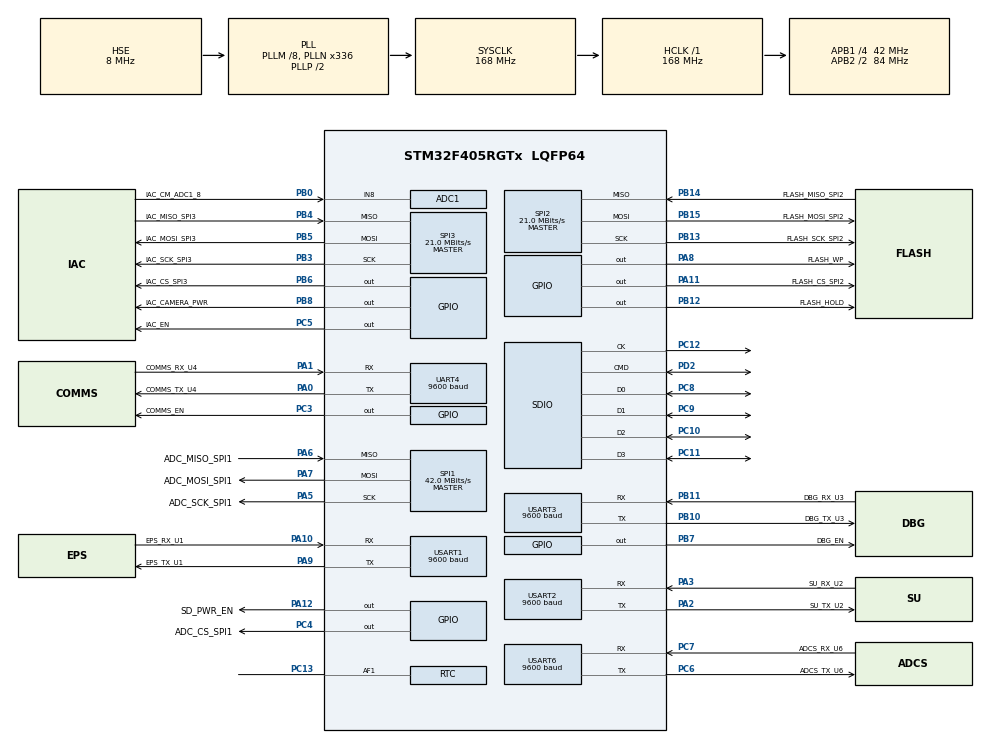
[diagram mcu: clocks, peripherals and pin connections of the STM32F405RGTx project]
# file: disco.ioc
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ADC1.Channel-17\#ChannelRegularConversion=ADC_CHANNEL_8
ADC1.NbrOfConversionFlag=1
ADC1.Rank-17\#ChannelRegularConversion=1
ADC1.SamplingTime-17\#ChannelRegularConversion=ADC_SAMPLETIME_3CYCLES
ADC1.master=1
Dma.Request0=USART2_TX
Dma.Request1=USART3_TX
Dma.Request2=USART6_TX
Dma.Request3=USART1_TX
Dma.Request4=UART4_TX
Dma.UART4_TX.4.Channel=DMA_CHANNEL_4
Dma.UART4_TX.4.Direction=DMA_MEMORY_TO_PERIPH
Dma.UART4_TX.4.FIFOMode=DMA_FIFOMODE_DISABLE
Dma.UART4_TX.4.Instance=DMA1_Stream4
Dma.UART4_TX.4.MemDataAlignment=DMA_MDATAALIGN_BYTE
Dma.UART4_TX.4.MemInc=DMA_MINC_ENABLE
Dma.UART4_TX.4.Mode=DMA_NORMAL
Dma.UART4_TX.4.PeriphDataAlignment=DMA_PDATAALIGN_BYTE
Dma.UART4_TX.4.PeriphInc=DMA_PINC_DISABLE
Dma.UART4_TX.4.Priority=DMA_PRIORITY_LOW
Dma.USART1_TX.3.Channel=DMA_CHANNEL_4
Dma.USART1_TX.3.Direction=DMA_MEMORY_TO_PERIPH
Dma.USART1_TX.3.FIFOMode=DMA_FIFOMODE_DISABLE
Dma.USART1_TX.3.Instance=DMA2_Stream7
Dma.USART1_TX.3.MemDataAlignment=DMA_MDATAALIGN_BYTE
Dma.USART1_TX.3.MemInc=DMA_MINC_ENABLE
Dma.USART1_TX.3.Mode=DMA_NORMAL
Dma.USART1_TX.3.PeriphDataAlignment=DMA_PDATAALIGN_BYTE
Dma.USART1_TX.3.PeriphInc=DMA_PINC_DISABLE
Dma.USART1_TX.3.Priority=DMA_PRIORITY_LOW
Dma.USART2_TX.0.Channel=DMA_CHANNEL_4
Dma.USART2_TX.0.Direction=DMA_MEMORY_TO_PERIPH
Dma.USART2_TX.0.FIFOMode=DMA_FIFOMODE_DISABLE
Dma.USART2_TX.0.Instance=DMA1_Stream6
Dma.USART2_TX.0.MemDataAlignment=DMA_MDATAALIGN_BYTE
Dma.USART2_TX.0.MemInc=DMA_MINC_ENABLE
Dma.USART2_TX.0.Mode=DMA_NORMAL
Dma.USART2_TX.0.PeriphDataAlignment=DMA_PDATAALIGN_BYTE
Dma.USART2_TX.0.PeriphInc=DMA_PINC_DISABLE
Dma.USART2_TX.0.Priority=DMA_PRIORITY_LOW
Dma.USART3_TX.1.Channel=DMA_CHANNEL_4
Dma.USART3_TX.1.Direction=DMA_MEMORY_TO_PERIPH
Dma.USART3_TX.1.FIFOMode=DMA_FIFOMODE_DISABLE
Dma.USART3_TX.1.Instance=DMA1_Stream3
Dma.USART3_TX.1.MemDataAlignment=DMA_MDATAALIGN_BYTE
Dma.USART3_TX.1.MemInc=DMA_MINC_ENABLE
Dma.USART3_TX.1.Mode=DMA_NORMAL
Dma.USART3_TX.1.PeriphDataAlignment=DMA_PDATAALIGN_BYTE
Dma.USART3_TX.1.PeriphInc=DMA_PINC_DISABLE
Dma.USART3_TX.1.Priority=DMA_PRIORITY_LOW
Dma.USART6_TX.2.Channel=DMA_CHANNEL_5
Dma.USART6_TX.2.Direction=DMA_MEMORY_TO_PERIPH
Dma.USART6_TX.2.FIFOMode=DMA_FIFOMODE_DISABLE
Dma.USART6_TX.2.Instance=DMA2_Stream6
Dma.USART6_TX.2.MemDataAlignment=DMA_MDATAALIGN_BYTE
Dma.USART6_TX.2.MemInc=DMA_MINC_ENABLE
Dma.USART6_TX.2.Mode=DMA_NORMAL
Dma.USART6_TX.2.PeriphDataAlignment=DMA_PDATAALIGN_BYTE
Dma.USART6_TX.2.PeriphInc=DMA_PINC_DISABLE
Dma.USART6_TX.2.Priority=DMA_PRIORITY_LOW
FATFS._FS_LOCK=1
FREERTOS.Tasks01=defaultTask,0,128,StartDefaultTask,Default;HK,-2,128,HK_task,Default
Mcu.Family=STM32F4
Mcu.Name=STM32F405RGTx
Mcu.Package=LQFP64
NVIC.DMA1_Stream3_IRQn=true\:5\:0\:false\:false\:true
NVIC.DMA1_Stream4_IRQn=true\:5\:0\:false\:false\:true
NVIC.DMA1_Stream6_IRQn=true\:5\:0\:false\:false\:true
NVIC.DMA2_Stream6_IRQn=true\:5\:0\:false\:false\:true
NVIC.DMA2_Stream7_IRQn=true\:5\:0\:false\:false\:true
NVIC.PriorityGroup=NVIC_PRIORITYGROUP_4
NVIC.SDIO_IRQn=true\:5\:0\:false\:false\:true
NVIC.TIM1_UP_TIM10_IRQn=true\:0\:0\:false\:false\:true
NVIC.TimeBase=TIM1_UP_TIM10_IRQn
NVIC.TimeBaseIP=TIM1
NVIC.UART4_IRQn=true\:5\:0\:false\:false\:true
NVIC.USART1_IRQn=true\:5\:0\:false\:false\:true
NVIC.USART2_IRQn=true\:5\:0\:false\:false\:true
NVIC.USART3_IRQn=true\:5\:0\:false\:false\:true
NVIC.USART6_IRQn=true\:5\:0\:false\:false\:true
PA0-WKUP.GPIO_Label=COMMS_TX_U4
PA0-WKUP.Mode=Asynchronous
PA0-WKUP.Signal=UART4_TX
PA1.GPIO_Label=COMMS_RX_U4
PA1.Mode=Asynchronous
PA1.Signal=UART4_RX
PA10.GPIO_Label=EPS_RX_U1
PA10.Mode=Asynchronous
PA10.Signal=USART1_RX
PA11.GPIO_Label=FLASH_CS_SPI2
PA11.Signal=GPIO_Output
PA12.GPIO_Label=SD_PWR_EN
PA12.Signal=GPIO_Output
PA13.Mode=Serial-Wire
PA13.Signal=SYS_JTMS-SWDIO
PA14.Mode=Serial-Wire
PA14.Signal=SYS_JTCK-SWCLK
PA2.GPIO_Label=SU_TX_U2
PA2.Mode=Asynchronous
PA2.Signal=USART2_TX
PA3.GPIO_Label=SU_RX_U2
PA3.Mode=Asynchronous
PA3.Signal=USART2_RX
PA5.GPIO_Label=ADC_SCK_SPI1
PA5.Mode=Full_Duplex_Master
PA5.Signal=SPI1_SCK
PA6.GPIO_Label=ADC_MISO_SPI1
PA6.Mode=Full_Duplex_Master
PA6.Signal=SPI1_MISO
PA7.GPIO_Label=ADC_MOSI_SPI1
PA7.Mode=Full_Duplex_Master
PA7.Signal=SPI1_MOSI
PA8.GPIO_Label=FLASH_WP
PA8.Signal=GPIO_Output
PA9.GPIO_Label=EPS_TX_U1
PA9.Mode=Asynchronous
PA9.Signal=USART1_TX
PB0.GPIO_Label=IAC_CM_ADC1_8
PB0.Signal=ADCx_IN8
PB10.GPIO_Label=DBG_TX_U3
PB10.Mode=Asynchronous
PB10.Signal=USART3_TX
PB11.GPIO_Label=DBG_RX_U3
PB11.Mode=Asynchronous
PB11.Signal=USART3_RX
PB12.GPIO_Label=FLASH_HOLD
PB12.Signal=GPIO_Output
PB13.GPIO_Label=FLASH_SCK_SPI2
PB13.Mode=Full_Duplex_Master
PB13.Signal=SPI2_SCK
PB14.GPIO_Label=FLASH_MISO_SPI2
PB14.Mode=Full_Duplex_Master
PB14.Signal=SPI2_MISO
PB15.GPIO_Label=FLASH_MOSI_SPI2
PB15.Mode=Full_Duplex_Master
PB15.Signal=SPI2_MOSI
PB3.GPIO_Label=IAC_SCK_SPI3
PB3.Mode=Full_Duplex_Master
PB3.Signal=SPI3_SCK
PB4.GPIO_Label=IAC_MISO_SPI3
PB4.Mode=Full_Duplex_Master
PB4.Signal=SPI3_MISO
PB5.GPIO_Label=IAC_MOSI_SPI3
PB5.Mode=Full_Duplex_Master
PB5.Signal=SPI3_MOSI
PB6.GPIO_Label=IAC_CS_SPI3
PB6.Signal=GPIO_Output
PB7.GPIO_Label=DBG_EN
PB7.Signal=GPIO_Output
PB8.GPIO_Label=IAC_CAMERA_PWR
PB8.Signal=GPIO_Output
PC10.Mode=SD_4_bits_Wide_bus
PC10.Signal=SDIO_D2
PC11.Mode=SD_4_bits_Wide_bus
PC11.Signal=SDIO_D3
PC12.Mode=SD_4_bits_Wide_bus
PC12.Signal=SDIO_CK
PC13-ANTI_TAMP.Mode=Calibration_1Hz
PC13-ANTI_TAMP.Signal=RTC_AF1
PC14-OSC32_IN.Signal=RCC_OSC32_IN
PC15-OSC32_OUT.Signal=RCC_OSC32_OUT
PC3.GPIO_Label=COMMS_EN
PC3.Signal=GPIO_Output
PC4.GPIO_Label=ADC_CS_SPI1
PC4.Signal=GPIO_Output
PC5.GPIO_Label=IAC_EN
PC5.Signal=GPIO_Output
PC6.GPIO_Label=ADCS_TX_U6
PC6.Mode=Asynchronous
PC6.Signal=USART6_TX
PC7.GPIO_Label=ADCS_RX_U6
PC7.Mode=Asynchronous
PC7.Signal=USART6_RX
PC8.Mode=SD_4_bits_Wide_bus
PC8.Signal=SDIO_D0
PC9.Mode=SD_4_bits_Wide_bus
PC9.Signal=SDIO_D1
PD2.Mode=SD_4_bits_Wide_bus
PD2.Signal=SDIO_CMD
PH0-OSC_IN.Mode=HSE-External-Oscillator
PH0-OSC_IN.Signal=RCC_OSC_IN
PH1-OSC_OUT.Mode=HSE-External-Oscillator
PH1-OSC_OUT.Signal=RCC_OSC_OUT
ProjectManager.HeapSize=0x200
ProjectManager.StackSize=0x400
ProjectManager.TargetToolchain=EWARM
RCC.48MHZClocksFreq_Value=48000000
RCC.AHBFreq_Value=168000000
RCC.APB1CLKDivider=RCC_HCLK_DIV4
RCC.APB1Freq_Value=42000000
RCC.APB1TimFreq_Value=84000000
RCC.APB2CLKDivider=RCC_HCLK_DIV2
RCC.APB2Freq_Value=84000000
RCC.APB2TimFreq_Value=168000000
RCC.CortexFreq_Value=168000000
RCC.HCLKFreq_Value=168000000
RCC.HSE_VALUE=8000000
RCC.HSI_VALUE=16000000
RCC.LSE_VALUE=1000000
RCC.PLLM=8
RCC.PLLN=336
RCC.PLLQ=7
RCC.PLLSourceVirtual=RCC_PLLSOURCE_HSE
RCC.SYSCLKFreq_VALUE=168000000
RCC.SYSCLKSource=RCC_SYSCLKSOURCE_PLLCLK
RCC.VCOOutputFreq_Value=336000000
RTC.Format=RTC_FORMAT_BIN
SDIO.BusWide=SDIO_BUS_WIDE_1B
SDIO.WideMode=SDIO_BUS_WIDE_4B
SH.ADCx_IN8.0=ADC1_IN8,IN8
SPI1.BaudRatePrescaler=SPI_BAUDRATEPRESCALER_2
SPI1.CalculateBaudRate=42.0 MBits/s
SPI1.Mode=SPI_MODE_MASTER
SPI2.BaudRatePrescaler=SPI_BAUDRATEPRESCALER_2
SPI2.CalculateBaudRate=21.0 MBits/s
SPI2.Mode=SPI_MODE_MASTER
SPI3.BaudRatePrescaler=SPI_BAUDRATEPRESCALER_2
SPI3.CalculateBaudRate=21.0 MBits/s
SPI3.Mode=SPI_MODE_MASTER
UART4.BaudRate=9600
USART1.BaudRate=9600
USART2.BaudRate=9600
USART3.BaudRate=9600
USART6.BaudRate=9600
VP_FATFS_VS_SDIO.Mode=SDIO
VP_FREERTOS_VS_ENABLE.Mode=Enabled
VP_SYS_VS_tim1.Mode=TIM1
board=disco

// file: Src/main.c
/**
  ******************************************************************************
  * File Name          : main.c
  * Description        : Main program body
  ******************************************************************************
  *
  * COPYRIGHT(c) 2016 STMicroelectronics
  *
  * Redistribution and use in source and binary forms, with or without modification,
  * are permitted provided that the following conditions are met:
  *   1. Redistributions of source code must retain the above copyright notice,
  *      this list of conditions and the following disclaimer.
  *   2. Redistributions in binary form must reproduce the above copyright notice,
  *      this list of conditions and the following disclaimer in the documentation
  *      and/or other materials provided with the distribution.
  *   3. Neither the name of STMicroelectronics nor the names of its contributors
  *      may be used to endorse or promote products derived from this software
  *      without specific prior written permission.
  *
  * THIS SOFTWARE IS PROVIDED BY THE COPYRIGHT HOLDERS AND CONTRIBUTORS "AS IS"
  * AND ANY EXPRESS OR IMPLIED WARRANTIES, INCLUDING, BUT NOT LIMITED TO, THE
  * IMPLIED WARRANTIES OF MERCHANTABILITY AND FITNESS FOR A PARTICULAR PURPOSE ARE
  * DISCLAIMED. IN NO EVENT SHALL THE COPYRIGHT HOLDER OR CONTRIBUTORS BE LIABLE
  * FOR ANY DIRECT, INDIRECT, INCIDENTAL, SPECIAL, EXEMPLARY, OR CONSEQUENTIAL
  * DAMAGES (INCLUDING, BUT NOT LIMITED TO, PROCUREMENT OF SUBSTITUTE GOODS OR
  * SERVICES; LOSS OF USE, DATA, OR PROFITS; OR BUSINESS INTERRUPTION) HOWEVER
  * CAUSED AND ON ANY THEORY OF LIABILITY, WHETHER IN CONTRACT, STRICT LIABILITY,
  * OR TORT (INCLUDING NEGLIGENCE OR OTHERWISE) ARISING IN ANY WAY OUT OF THE USE
  * OF THIS SOFTWARE, EVEN IF ADVISED OF THE POSSIBILITY OF SUCH DAMAGE.
  *
  ******************************************************************************
  */
#include "stm32f4xx_hal.h"
#include "cmsis_os.h"
#include "fatfs.h"

/* USER CODE BEGIN Includes */
#include "../../../platform/obc/obc.h"
#include "../../../services/service_utilities.h"
#include "scheduling_service.h"
/* USER CODE END Includes */

ADC_HandleTypeDef hadc1;

RTC_HandleTypeDef hrtc;

SD_HandleTypeDef hsd;
HAL_SD_CardInfoTypedef SDCardInfo;
TaskFunction_t ToggleLED_Timer1(void*);
TaskFunction_t ToggleLED_Timer2(void*);
TaskFunction_t ToggleLED_Timer3(void*);
TaskFunction_t ToggleLED_Timer4(void*);
SPI_HandleTypeDef hspi1;
SPI_HandleTypeDef hspi2;
SPI_HandleTypeDef hspi3;

UART_HandleTypeDef huart4;
UART_HandleTypeDef huart1;
UART_HandleTypeDef huart2;
UART_HandleTypeDef huart3;
UART_HandleTypeDef huart6;
DMA_HandleTypeDef hdma_uart4_tx;
DMA_HandleTypeDef hdma_usart1_tx;
DMA_HandleTypeDef hdma_usart2_tx;
DMA_HandleTypeDef hdma_usart3_tx;
DMA_HandleTypeDef hdma_usart6_tx;

osThreadId defaultTaskHandle;
osThreadId HKHandle;

/* USER CODE BEGIN PV */
/* Private variables ---------------------------------------------------------*/

/* USER CODE END PV */

void SystemClock_Config(void);
static void MX_GPIO_Init(void);
static void MX_DMA_Init(void);
static void MX_SDIO_SD_Init(void);
static void MX_UART4_Init(void);
static void MX_USART2_UART_Init(void);
static void MX_USART3_UART_Init(void);
static void MX_USART6_UART_Init(void);
static void MX_USART1_UART_Init(void);
static void MX_SPI2_Init(void);
static void MX_SPI1_Init(void);
static void MX_SPI3_Init(void);
static void MX_ADC1_Init(void);
static void MX_RTC_Init(void);
void StartDefaultTask(void const * argument);
void HK_task(void const * argument);

/* USER CODE BEGIN PFP */
/* Private function prototypes -----------------------------------------------*/

/* USER CODE END PFP */

int main(void)
{

  /* MCU Configuration----------------------------------------------------------*/

  /* Reset of all peripherals, Initializes the Flash interface and the Systick. */
  HAL_Init();

  /* Configure the system clock */
  SystemClock_Config();

  /* Initialize all configured peripherals */
  MX_GPIO_Init();
  MX_DMA_Init();
  MX_SDIO_SD_Init();
  MX_UART4_Init();
  MX_USART2_UART_Init();
  MX_USART3_UART_Init();
  MX_USART6_UART_Init();
  MX_USART1_UART_Init();
  MX_SPI2_Init();
  MX_SPI1_Init();
  MX_SPI3_Init();
  MX_ADC1_Init();
  MX_RTC_Init();

  /* USER CODE BEGIN 2 */
//            HAL_GPIO_TogglePin(GPIOD, GPIO_PIN_12);
//            HAL_GPIO_TogglePin(GPIOD, GPIO_PIN_13);
//            HAL_GPIO_TogglePin(GPIOD, GPIO_PIN_14);
//            HAL_GPIO_TogglePin(GPIOD, GPIO_PIN_15);

  /* USER CODE END 2 */

  /* Create the thread(s) */
  /* definition and creation of defaultTask */
  osThreadDef(defaultTask, StartDefaultTask, osPriorityNormal, 0, 128);
  defaultTaskHandle = osThreadCreate(osThread(defaultTask), NULL);

  /* definition and creation of HK */
  osThreadDef(HK, HK_task, osPriorityLow, 0, 128);
  HKHandle = osThreadCreate(osThread(HK), NULL);

 xTaskCreate(
               ToggleLED_Timer1, /* Function pointer */
               "Task1", /* Task name - for debugging only*/
               configMINIMAL_STACK_SIZE, /* Stack depth in words */
               (void*) NULL, /* Pointer to tasks arguments (parameter) */
               tskIDLE_PRIORITY + 2UL, /* Task priority*/
               NULL /* Task handle */
      );
//
      xTaskCreate(
    		  ToggleLED_Timer2,                 /* Function pointer */
    		  "Task1",                          /* Task name - for debugging only*/
    		  configMINIMAL_STACK_SIZE,         /* Stack depth in words */
    		  (void*) NULL,                     /* Pointer to tasks arguments (parameter) */
    		  tskIDLE_PRIORITY + 2UL,           /* Task priority*/
    		  NULL                              /* Task handle */
      );

      xTaskCreate(
    		  ToggleLED_Timer3,                 /* Function pointer */
    		  "Task1",                          /* Task name - for debugging only*/
    		  configMINIMAL_STACK_SIZE,         /* Stack depth in words */
    		  (void*) NULL,                     /* Pointer to tasks arguments (parameter) */
    		  tskIDLE_PRIORITY + 2UL,           /* Task priority*/
    		  NULL                              /* Task handle */
      );

      xTaskCreate(
    		  ToggleLED_Timer4,                 /* Function pointer */
    		  "Task1",                          /* Task name - for debugging only*/
    		  configMINIMAL_STACK_SIZE,         /* Stack depth in words */
    		  (void*) NULL,                     /* Pointer to tasks arguments (parameter) */
    		  tskIDLE_PRIORITY + 2UL,           /* Task priority*/
    		  NULL                              /* Task handle */
      );

  /* Start scheduler */
  osKernelStart();

  /* We should never get here as control is now taken by the scheduler */

  /* Infinite loop */
  while (1)
  {

  }

}

TaskFunction_t ToggleLED_Timer1(void *pvParameters)
{
    while (1)
    {
        HAL_GPIO_TogglePin(GPIOD, GPIO_PIN_12);
        //    GPIO_ToggleBits(GPIOD, GPIO_Pin_13);
        //    GPIO_ToggleBits(GPIOD, GPIO_Pin_14);
        //    GPIO_ToggleBits(GPIOD, GPIO_Pin_15);
        /*
        Delay for a period of time. vTaskDelay() places the task into
        the Blocked state until the period has expired.
        The delay period is spacified in 'ticks'. We can convert
        yhis in milisecond with the constant portTICK_RATE_MS.
         */
        vTaskDelay(250 / portTICK_RATE_MS);
    }

}
/**
 * TASK 1: Toggle LED via RTOS Timer
 */
TaskFunction_t ToggleLED_Timer2(void *pvParameters)
{
    while (1)
    {
        //    GPIO_ToggleBits(GPIOD, GPIO_Pin_12);
        //    GPIO_ToggleBits(GPIOD, GPIO_Pin_13);
        HAL_GPIO_TogglePin(GPIOD, GPIO_PIN_14);
        //    GPIO_ToggleBits(GPIOD, GPIO_Pin_15);
        /*
        Delay for a period of time. vTaskDelay() places the task into
        the Blocked state until the period has expired.
        The delay period is spacified in 'ticks'. We can convert
        yhis in milisecond with the constant portTICK_RATE_MS.
         */
        vTaskDelay(500 / portTICK_RATE_MS);
    }
}

/**
 * TASK 1: Toggle LED via RTOS Timer
 */
TaskFunction_t ToggleLED_Timer3(void *pvParameters)
{
    while (1)
    {
        //    GPIO_ToggleBits(GPIOD, GPIO_Pin_12);
        //    GPIO_ToggleBits(GPIOD, GPIO_Pin_13);
        //    GPIO_ToggleBits(GPIOD, GPIO_Pin_14);
        HAL_GPIO_TogglePin(GPIOD, GPIO_PIN_15);
        /*
        Delay for a period of time. vTaskDelay() places the task into
        the Blocked state until the period has expired.
        The delay period is spacified in 'ticks'. We can convert
        yhis in milisecond with the constant portTICK_RATE_MS.
         */
        vTaskDelay(1000 / portTICK_RATE_MS);
    }
}

/**
 * TASK 1: Toggle LED via RTOS Timer
 */
TaskFunction_t ToggleLED_Timer4(void *pvParameters)
{
    while (1)
    {
        //    GPIO_ToggleBits(GPIOD, GPIO_Pin_12);
        HAL_GPIO_TogglePin(GPIOD, GPIO_PIN_13);
        //    GPIO_ToggleBits(GPIOD, GPIO_Pin_14);
        //    GPIO_ToggleBits(GPIOD, GPIO_Pin_15);
        /*
        Delay for a period of time. vTaskDelay() places the task into
        the Blocked state until the period has expired.
        The delay period is spacified in 'ticks'. We can convert
        yhis in milisecond with the constant portTICK_RATE_MS.
         */
        vTaskDelay(1500 / portTICK_RATE_MS);
    }
}
/** System Clock Configuration
*/
void SystemClock_Config(void)
{

  RCC_OscInitTypeDef RCC_OscInitStruct;
  RCC_ClkInitTypeDef RCC_ClkInitStruct;
  RCC_PeriphCLKInitTypeDef PeriphClkInitStruct;

  __HAL_RCC_PWR_CLK_ENABLE();

  __HAL_PWR_VOLTAGESCALING_CONFIG(PWR_REGULATOR_VOLTAGE_SCALE1);

  RCC_OscInitStruct.OscillatorType = RCC_OSCILLATORTYPE_LSI|RCC_OSCILLATORTYPE_HSE;
  RCC_OscInitStruct.HSEState = RCC_HSE_ON;
  RCC_OscInitStruct.LSIState = RCC_LSI_ON;
  RCC_OscInitStruct.PLL.PLLState = RCC_PLL_ON;
  RCC_OscInitStruct.PLL.PLLSource = RCC_PLLSOURCE_HSE;
  RCC_OscInitStruct.PLL.PLLM = 8;
  RCC_OscInitStruct.PLL.PLLN = 336;
  RCC_OscInitStruct.PLL.PLLP = RCC_PLLP_DIV2;
  RCC_OscInitStruct.PLL.PLLQ = 7;
  HAL_RCC_OscConfig(&RCC_OscInitStruct);

  RCC_ClkInitStruct.ClockType = RCC_CLOCKTYPE_HCLK|RCC_CLOCKTYPE_SYSCLK
                              |RCC_CLOCKTYPE_PCLK1|RCC_CLOCKTYPE_PCLK2;
  RCC_ClkInitStruct.SYSCLKSource = RCC_SYSCLKSOURCE_PLLCLK;
  RCC_ClkInitStruct.AHBCLKDivider = RCC_SYSCLK_DIV1;
  RCC_ClkInitStruct.APB1CLKDivider = RCC_HCLK_DIV4;
  RCC_ClkInitStruct.APB2CLKDivider = RCC_HCLK_DIV2;
  HAL_RCC_ClockConfig(&RCC_ClkInitStruct, FLASH_LATENCY_5);

  PeriphClkInitStruct.PeriphClockSelection = RCC_PERIPHCLK_RTC;
  PeriphClkInitStruct.RTCClockSelection = RCC_RTCCLKSOURCE_LSI;
  HAL_RCCEx_PeriphCLKConfig(&PeriphClkInitStruct);

  HAL_SYSTICK_Config(HAL_RCC_GetHCLKFreq()/1000);

  HAL_SYSTICK_CLKSourceConfig(SYSTICK_CLKSOURCE_HCLK);

  /* SysTick_IRQn interrupt configuration */
  HAL_NVIC_SetPriority(SysTick_IRQn, 15, 0);
}

/* ADC1 init function */
void MX_ADC1_Init(void)
{

  ADC_ChannelConfTypeDef sConfig;

    /**Configure the global features of the ADC (Clock, Resolution, Data Alignment and number of conversion)
    */
  hadc1.Instance = ADC1;
  hadc1.Init.ClockPrescaler = ADC_CLOCK_SYNC_PCLK_DIV2;
  hadc1.Init.Resolution = ADC_RESOLUTION_12B;
  hadc1.Init.ScanConvMode = DISABLE;
  hadc1.Init.ContinuousConvMode = DISABLE;
  hadc1.Init.DiscontinuousConvMode = DISABLE;
  hadc1.Init.ExternalTrigConvEdge = ADC_EXTERNALTRIGCONVEDGE_NONE;
  hadc1.Init.DataAlign = ADC_DATAALIGN_RIGHT;
  hadc1.Init.NbrOfConversion = 1;
  hadc1.Init.DMAContinuousRequests = DISABLE;
  hadc1.Init.EOCSelection = ADC_EOC_SINGLE_CONV;
  HAL_ADC_Init(&hadc1);

    /**Configure for the selected ADC regular channel its corresponding rank in the sequencer and its sample time.
    */
  sConfig.Channel = ADC_CHANNEL_8;
  sConfig.Rank = 1;
  sConfig.SamplingTime = ADC_SAMPLETIME_3CYCLES;
  HAL_ADC_ConfigChannel(&hadc1, &sConfig);

}

/* RTC init function */
void MX_RTC_Init(void)
{

  RTC_TimeTypeDef sTime;
  RTC_DateTypeDef sDate;

    /**Initialize RTC and set the Time and Date
    */
  hrtc.Instance = RTC;
  hrtc.Init.HourFormat = RTC_HOURFORMAT_24;
  hrtc.Init.AsynchPrediv = 127;
  hrtc.Init.SynchPrediv = 255;
  hrtc.Init.OutPut = RTC_OUTPUT_DISABLE;
  hrtc.Init.OutPutPolarity = RTC_OUTPUT_POLARITY_HIGH;
  hrtc.Init.OutPutType = RTC_OUTPUT_TYPE_OPENDRAIN;
  HAL_RTC_Init(&hrtc);

  sTime.Hours = 0;
  sTime.Minutes = 0;
  sTime.Seconds = 0;
  sTime.DayLightSaving = RTC_DAYLIGHTSAVING_NONE;
  sTime.StoreOperation = RTC_STOREOPERATION_RESET;
  HAL_RTC_SetTime(&hrtc, &sTime, RTC_FORMAT_BIN);

  sDate.WeekDay = RTC_WEEKDAY_MONDAY;
  sDate.Month = RTC_MONTH_JANUARY;
  sDate.Date = 1;
  sDate.Year = 0;

  HAL_RTC_SetDate(&hrtc, &sDate, RTC_FORMAT_BIN);

    /**Enable Calibrartion
    */
  HAL_RTCEx_SetCalibrationOutPut(&hrtc, RTC_CALIBOUTPUT_1HZ);

}

/* SDIO init function */
void MX_SDIO_SD_Init(void)
{

  hsd.Instance = SDIO;
  hsd.Init.ClockEdge = SDIO_CLOCK_EDGE_RISING;
  hsd.Init.ClockBypass = SDIO_CLOCK_BYPASS_DISABLE;
  hsd.Init.ClockPowerSave = SDIO_CLOCK_POWER_SAVE_DISABLE;
  hsd.Init.BusWide = SDIO_BUS_WIDE_1B;
  hsd.Init.HardwareFlowControl = SDIO_HARDWARE_FLOW_CONTROL_DISABLE;
  hsd.Init.ClockDiv = 0;

}

/* SPI1 init function */
void MX_SPI1_Init(void)
{

  hspi1.Instance = SPI1;
  hspi1.Init.Mode = SPI_MODE_MASTER;
  hspi1.Init.Direction = SPI_DIRECTION_2LINES;
  hspi1.Init.DataSize = SPI_DATASIZE_8BIT;
  hspi1.Init.CLKPolarity = SPI_POLARITY_LOW;
  hspi1.Init.CLKPhase = SPI_PHASE_1EDGE;
  hspi1.Init.NSS = SPI_NSS_SOFT;
  hspi1.Init.BaudRatePrescaler = SPI_BAUDRATEPRESCALER_2;
  hspi1.Init.FirstBit = SPI_FIRSTBIT_MSB;
  hspi1.Init.TIMode = SPI_TIMODE_DISABLE;
  hspi1.Init.CRCCalculation = SPI_CRCCALCULATION_DISABLE;
  hspi1.Init.CRCPolynomial = 10;
  HAL_SPI_Init(&hspi1);

}

/* SPI2 init function */
void MX_SPI2_Init(void)
{

  hspi2.Instance = SPI2;
  hspi2.Init.Mode = SPI_MODE_MASTER;
  hspi2.Init.Direction = SPI_DIRECTION_2LINES;
  hspi2.Init.DataSize = SPI_DATASIZE_8BIT;
  hspi2.Init.CLKPolarity = SPI_POLARITY_LOW;
  hspi2.Init.CLKPhase = SPI_PHASE_1EDGE;
  hspi2.Init.NSS = SPI_NSS_SOFT;
  hspi2.Init.BaudRatePrescaler = SPI_BAUDRATEPRESCALER_2;
  hspi2.Init.FirstBit = SPI_FIRSTBIT_MSB;
  hspi2.Init.TIMode = SPI_TIMODE_DISABLE;
  hspi2.Init.CRCCalculation = SPI_CRCCALCULATION_DISABLE;
  hspi2.Init.CRCPolynomial = 10;
  HAL_SPI_Init(&hspi2);

}

/* SPI3 init function */
void MX_SPI3_Init(void)
{

  hspi3.Instance = SPI3;
  hspi3.Init.Mode = SPI_MODE_MASTER;
  hspi3.Init.Direction = SPI_DIRECTION_2LINES;
  hspi3.Init.DataSize = SPI_DATASIZE_8BIT;
  hspi3.Init.CLKPolarity = SPI_POLARITY_LOW;
  hspi3.Init.CLKPhase = SPI_PHASE_1EDGE;
  hspi3.Init.NSS = SPI_NSS_SOFT;
  hspi3.Init.BaudRatePrescaler = SPI_BAUDRATEPRESCALER_2;
  hspi3.Init.FirstBit = SPI_FIRSTBIT_MSB;
  hspi3.Init.TIMode = SPI_TIMODE_DISABLE;
  hspi3.Init.CRCCalculation = SPI_CRCCALCULATION_DISABLE;
  hspi3.Init.CRCPolynomial = 10;
  HAL_SPI_Init(&hspi3);

}

/* UART4 init function */
void MX_UART4_Init(void)
{

  huart4.Instance = UART4;
  huart4.Init.BaudRate = 9600;
  huart4.Init.WordLength = UART_WORDLENGTH_8B;
  huart4.Init.StopBits = UART_STOPBITS_1;
  huart4.Init.Parity = UART_PARITY_NONE;
  huart4.Init.Mode = UART_MODE_TX_RX;
  huart4.Init.HwFlowCtl = UART_HWCONTROL_NONE;
  huart4.Init.OverSampling = UART_OVERSAMPLING_16;
  HAL_UART_Init(&huart4);

}

/* USART1 init function */
void MX_USART1_UART_Init(void)
{

  huart1.Instance = USART1;
  huart1.Init.BaudRate = 9600;
  huart1.Init.WordLength = UART_WORDLENGTH_8B;
  huart1.Init.StopBits = UART_STOPBITS_1;
  huart1.Init.Parity = UART_PARITY_NONE;
  huart1.Init.Mode = UART_MODE_TX_RX;
  huart1.Init.HwFlowCtl = UART_HWCONTROL_NONE;
  huart1.Init.OverSampling = UART_OVERSAMPLING_16;
  HAL_UART_Init(&huart1);

}

/* USART2 init function */
void MX_USART2_UART_Init(void)
{

  huart2.Instance = USART2;
  huart2.Init.BaudRate = 9600;
  huart2.Init.WordLength = UART_WORDLENGTH_8B;
  huart2.Init.StopBits = UART_STOPBITS_1;
  huart2.Init.Parity = UART_PARITY_NONE;
  huart2.Init.Mode = UART_MODE_TX_RX;
  huart2.Init.HwFlowCtl = UART_HWCONTROL_NONE;
  huart2.Init.OverSampling = UART_OVERSAMPLING_16;
  HAL_UART_Init(&huart2);

}

/* USART3 init function */
void MX_USART3_UART_Init(void)
{

  huart3.Instance = USART3;
  huart3.Init.BaudRate = 9600;
  huart3.Init.WordLength = UART_WORDLENGTH_8B;
  huart3.Init.StopBits = UART_STOPBITS_1;
  huart3.Init.Parity = UART_PARITY_NONE;
  huart3.Init.Mode = UART_MODE_TX_RX;
  huart3.Init.HwFlowCtl = UART_HWCONTROL_NONE;
  huart3.Init.OverSampling = UART_OVERSAMPLING_16;
  HAL_UART_Init(&huart3);

}

/* USART6 init function */
void MX_USART6_UART_Init(void)
{

  huart6.Instance = USART6;
  huart6.Init.BaudRate = 9600;
  huart6.Init.WordLength = UART_WORDLENGTH_8B;
  huart6.Init.StopBits = UART_STOPBITS_1;
  huart6.Init.Parity = UART_PARITY_NONE;
  huart6.Init.Mode = UART_MODE_TX_RX;
  huart6.Init.HwFlowCtl = UART_HWCONTROL_NONE;
  huart6.Init.OverSampling = UART_OVERSAMPLING_16;
  HAL_UART_Init(&huart6);

}

void MX_DMA_Init(void)
{
  /* DMA controller clock enable */
  __HAL_RCC_DMA1_CLK_ENABLE();
  __HAL_RCC_DMA2_CLK_ENABLE();

  /* DMA interrupt init */
  /* DMA1_Stream3_IRQn interrupt configuration */
  HAL_NVIC_SetPriority(DMA1_Stream3_IRQn, 5, 0);
  HAL_NVIC_EnableIRQ(DMA1_Stream3_IRQn);
  /* DMA1_Stream4_IRQn interrupt configuration */
  HAL_NVIC_SetPriority(DMA1_Stream4_IRQn, 5, 0);
  HAL_NVIC_EnableIRQ(DMA1_Stream4_IRQn);
  /* DMA1_Stream6_IRQn interrupt configuration */
  HAL_NVIC_SetPriority(DMA1_Stream6_IRQn, 5, 0);
  HAL_NVIC_EnableIRQ(DMA1_Stream6_IRQn);
  /* DMA2_Stream6_IRQn interrupt configuration */
  HAL_NVIC_SetPriority(DMA2_Stream6_IRQn, 5, 0);
  HAL_NVIC_EnableIRQ(DMA2_Stream6_IRQn);
  /* DMA2_Stream7_IRQn interrupt configuration */
  HAL_NVIC_SetPriority(DMA2_Stream7_IRQn, 5, 0);
  HAL_NVIC_EnableIRQ(DMA2_Stream7_IRQn);

}

/** Configure pins as
        * Analog
        * Input
        * Output
        * EVENT_OUT
        * EXTI
*/
void MX_GPIO_Init(void)
{

  GPIO_InitTypeDef GPIO_InitStruct;

  /* GPIO Ports Clock Enable */
  __HAL_RCC_GPIOC_CLK_ENABLE();
  __HAL_RCC_GPIOH_CLK_ENABLE();
  __HAL_RCC_GPIOA_CLK_ENABLE();
  __HAL_RCC_GPIOB_CLK_ENABLE();
  __HAL_RCC_GPIOD_CLK_ENABLE();

  /*Configure GPIO pin Output Level */
  HAL_GPIO_WritePin(GPIOC, COMMS_EN_Pin|ADC_CS_SPI1_Pin|IAC_EN_Pin, GPIO_PIN_RESET);

  /*Configure GPIO pin Output Level */
  HAL_GPIO_WritePin(GPIOB, FLASH_HOLD_Pin|IAC_CS_SPI3_Pin|DBG_EN_Pin|IAC_CAMERA_PWR_Pin, GPIO_PIN_RESET);

  /*Configure GPIO pin Output Level */
  HAL_GPIO_WritePin(GPIOA, FLASH_WP_Pin|FLASH_CS_SPI2_Pin|SD_PWR_EN_Pin, GPIO_PIN_RESET);

  /*Configure GPIO pins : COMMS_EN_Pin ADC_CS_SPI1_Pin IAC_EN_Pin */
  GPIO_InitStruct.Pin = COMMS_EN_Pin|ADC_CS_SPI1_Pin|IAC_EN_Pin;
  GPIO_InitStruct.Mode = GPIO_MODE_OUTPUT_PP;
  GPIO_InitStruct.Pull = GPIO_NOPULL;
  GPIO_InitStruct.Speed = GPIO_SPEED_FREQ_LOW;
  HAL_GPIO_Init(GPIOC, &GPIO_InitStruct);

  /*Configure GPIO pins : FLASH_HOLD_Pin IAC_CS_SPI3_Pin DBG_EN_Pin IAC_CAMERA_PWR_Pin */
  GPIO_InitStruct.Pin = FLASH_HOLD_Pin|IAC_CS_SPI3_Pin|DBG_EN_Pin|IAC_CAMERA_PWR_Pin;
  GPIO_InitStruct.Mode = GPIO_MODE_OUTPUT_PP;
  GPIO_InitStruct.Pull = GPIO_NOPULL;
  GPIO_InitStruct.Speed = GPIO_SPEED_FREQ_LOW;
  HAL_GPIO_Init(GPIOB, &GPIO_InitStruct);

  /*Configure GPIO pins : FLASH_WP_Pin FLASH_CS_SPI2_Pin SD_PWR_EN_Pin */
  GPIO_InitStruct.Pin = FLASH_WP_Pin|FLASH_CS_SPI2_Pin|SD_PWR_EN_Pin;
  GPIO_InitStruct.Mode = GPIO_MODE_OUTPUT_PP;
  GPIO_InitStruct.Pull = GPIO_NOPULL;
  GPIO_InitStruct.Speed = GPIO_SPEED_FREQ_LOW;
  HAL_GPIO_Init(GPIOA, &GPIO_InitStruct);

}

/* StartDefaultTask function */
void StartDefaultTask(void const * argument)
{
  /* init code for FATFS */
  MX_FATFS_Init();

  /* USER CODE BEGIN 5 */
   //obc_data.rsrc = 0;
   HAL_reset_source(&sys_data.rsrc);
   update_boot_counter();

//   uint32_t t1, t2, t3;

//   t1 = time_cmp_elapsed(3, 6);
//   t2 = time_cmp_elapsed(0xfffffff0, 0xfffffff6);
//   t3 = time_cmp_elapsed(0xfffffff0, 3);

//   t1 = get_time_ELAPSED();
//   osDelay(10);
//   t2 = get_time_ELAPSED();
//   osDelay(1000);
//   t3 = get_time_ELAPSED();

//   event_log(reset source);

   uint8_t uart_temp[20];
//
   pkt_pool_INIT();
   scheduling_service_init();
   HAL_obc_enableBkUpAccess();
//   bkup_sram_INIT();
//   mass_storage_init();
//   su_INIT();

//   *obc_data.log_cnt = 0;
   uint8_t hours, mins, sec = 0;
//   hours = 19;
//   mins = 35;
//   sec = 11;
   HAL_sys_setTime(19, 56, 33);
//   sprintf((char*)uart_temp, "T: %d:%d.%d\n", hours, mins, sec);
//   HAL_UART_Transmit(&huart3, uart_temp, 19 , 10000);

   HAL_sys_getTime(&hours, &mins, &sec);
//   sprintf((char*)uart_temp, "T: %d:%d.%d\n", hours, mins, sec);
//   HAL_UART_Transmit(&huart3, uart_temp, 12 , 10000);

//   sprintf((char*)uart_temp, "F: %u\n", *obc_data.log_cnt);
//   HAL_UART_Transmit(&huart3, uart_temp, 19 , 10000);
//   (*obc_data.log_cnt)++;
//   *obc_data.log_cnt = 0;
//   uint8_t tt[] = "YO!\n";
//   event_log(tt, 4);
//   event_log_load(uart_temp, (*obc_data.log_cnt) - 4, 4);
   sprintf((char*)uart_temp, "Hello\n");
   HAL_UART_Transmit(&huart3, uart_temp, 6 , 10000);
//  osDelay(100);
  /*Uart inits*/
//  HAL_UART_Receive_IT(&huart1, obc_data.eps_uart.uart_buf, UART_BUF_SIZE);
  HAL_UART_Receive_IT(&huart3, obc_data.dbg_uart.uart_buf, UART_BUF_SIZE);
//  HAL_UART_Receive_IT(&huart4, obc_data.comms_uart.uart_buf, UART_BUF_SIZE);
//  HAL_UART_Receive_IT(&huart6, obc_data.adcs_uart.uart_buf, UART_BUF_SIZE);
  /* Infinite loop */
  for(;;)
  {
//    import_pkt(EPS_APP_ID, &obc_data.eps_uart);
    import_pkt(DBG_APP_ID, &obc_data.dbg_uart);
//    import_pkt(COMMS_APP_ID, &obc_data.comms_uart);
//    import_pkt(ADCS_APP_ID, &obc_data.adcs_uart);
//    su_SCH();
      HAL_UART_Transmit(&huart3, uart_temp, 6 , 10000);
    osDelay(100);
  }
  /* USER CODE END 5 */
}

/* HK_task function */
void HK_task(void const * argument)
{
  /* USER CODE BEGIN HK_task */
  hk_INIT();
  /* Infinite loop */
  for(;;)
  {
    hk_SCH();
  }
  /* USER CODE END HK_task */
}

/************************ (C) COPYRIGHT STMicroelectronics *****END OF FILE****/
